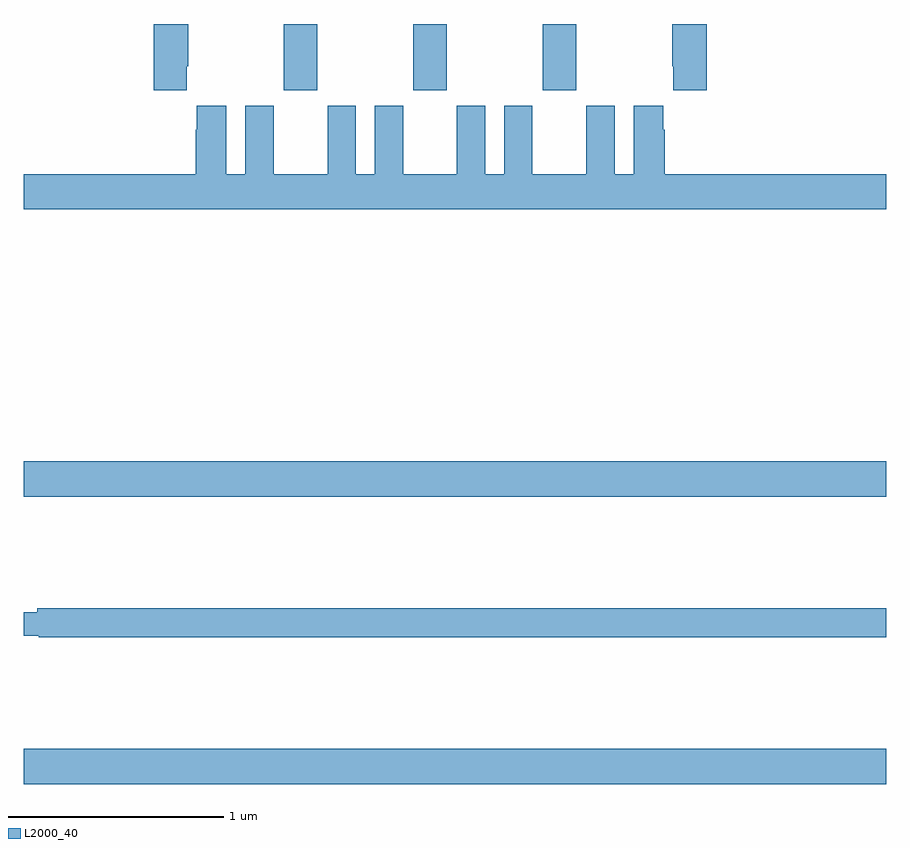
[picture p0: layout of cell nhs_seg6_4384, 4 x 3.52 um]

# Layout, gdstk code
import gdstk
lib = gdstk.Library(unit=1e-6, precision=1e-09)
def R(c, l, rs):  # rectangles x0, y0, x1, y1
    for r in rs: c.add(gdstk.rectangle(r[:2], r[2:], *l))
def A(c, l, x, y, w, h, nx, ny, dx, dy):  # array of equal rectangles
    R(c, l, [(x+i*dx, y+j*dy, x+i*dx+w, y+j*dy+h) for i in range(nx) for j in range(ny)])
def P(c, l, *ps):  # polygons
    for p in ps: c.add(gdstk.Polygon(p, *l))
L2000_40 = (2000, 40)

nhs_seg6_4384 = lib.new_cell('nhs_seg6_4384')
A(nhs_seg6_4384, L2000_40, 370.207, 977.193, 0.155, 0.307, 3, 1, 0.6, 0)
R(nhs_seg6_4384, L2000_40, [(369,973.976,373,974.14), (369,975.308,373,975.472)])
P(nhs_seg6_4384, L2000_40, [(369.757,977.305),(369.762,977.305),(369.762,977.5),(369.602,977.5),(369.602,977.193),(369.757,977.193)],
  [(372.167,977.5),(372.007,977.5),(372.007,977.305),(372.011,977.305),(372.011,977.193),(372.167,977.193)],
  [(373,976.804),(371.972,976.804),(371.972,977.009),(371.965,977.009),(371.965,977.122),(371.828,977.122),(371.828,976.804),(371.74,976.804),(371.74,977.122),(371.609,977.122),(371.609,976.804),(371.359,976.804),(371.359,977.122),(371.228,977.122),(371.228,976.804),(371.14,976.804),(371.14,977.122),(371.009,977.122),(371.009,976.804),(370.759,976.804),(370.759,977.122),(370.628,977.122),(370.628,976.804),(370.54,976.804),(370.54,977.122),(370.409,977.122),(370.409,976.804),(370.159,976.804),(370.159,977.122),(370.028,977.122),(370.028,976.804),(369.94,976.804),(369.94,977.122),(369.803,977.122),(369.803,977.009),(369.797,977.009),(369.797,976.804),(369,976.804),(369,976.64),(373,976.64)],
  [(373,974.792),(369.064,974.792),(369.064,974.773),(369,974.773),(369,974.664),(369.07,974.664),(369.07,974.656),(373,974.656)])

lib.write_gds('nhs_seg6_4384.gds')
